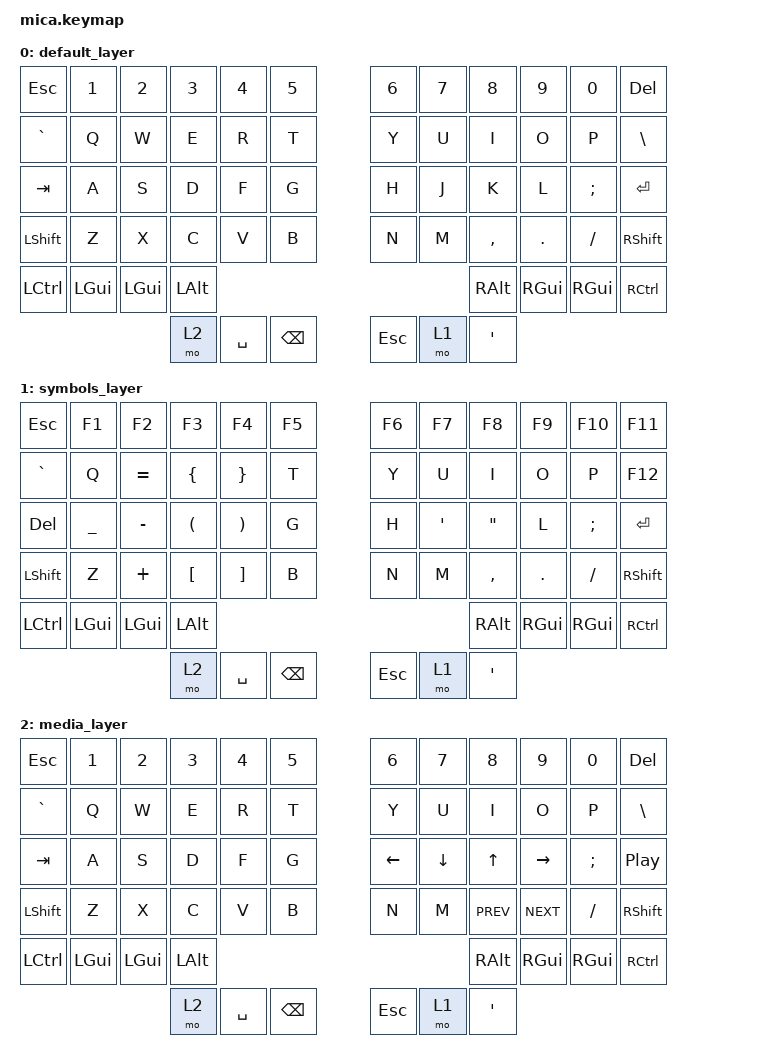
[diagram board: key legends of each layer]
#include <behaviors.dtsi>
#include <dt-bindings/zmk/keys.h>
#include <dt-bindings/zmk/bt.h>

/ {
        keymap {
                compatible = "zmk,keymap";

                default_layer {
                        bindings = <
   &kp ESC    &kp N1    &kp N2    &kp N3     &kp N4     &kp N5               &kp N6     &kp N7   &kp N8     &kp N9     &kp N0    &kp DEL
   &kp GRAVE  &kp Q     &kp W     &kp E      &kp R      &kp T                &kp Y      &kp U    &kp I      &kp O      &kp P     &kp BSLH
   &kp TAB    &kp A     &kp S     &kp D      &kp F      &kp G                &kp H      &kp J    &kp K      &kp L      &kp SEMI  &kp RET
   &kp LSHFT  &kp Z     &kp X     &kp C      &kp V      &kp B                &kp N      &kp M    &kp COMMA  &kp DOT    &kp FSLH  &kp RSHFT
   &kp LCTRL  &kp LGUI  &kp LGUI  &kp LALT                                                       &kp RALT   &kp RGUI   &kp RGUI  &kp RCTRL
                                  &mo 2      &kp SPACE  &kp BSPC             &kp ESC    &mo 1    &kp SQT                                
                        >;                                                                                             
                };                                                                                                     
                symbols_layer {                                                                                        
                        bindings = <                                                                                   
   &kp ESC    &kp F1    &kp F2    &kp F3     &kp F4     &kp F5               &kp F6     &kp F7   &kp F8     &kp F9     &kp F10   &kp F11
   &kp GRAVE  &kp Q     &kp EQUAL &kp LBRC   &kp RBRC   &kp T                &kp Y      &kp U    &kp I      &kp O      &kp P     &kp F12
   &kp DEL    &kp UNDER &kp MINUS &kp LPAR   &kp RPAR   &kp G                &kp H      &kp SQT  &kp DQT    &kp L      &kp SEMI  &kp RET
   &kp LSHFT  &kp Z     &kp PLUS  &kp LBKT   &kp RBKT   &kp B                &kp N      &kp M    &kp COMMA  &kp DOT    &kp FSLH  &kp RSHFT
   &kp LCTRL  &kp LGUI  &kp LGUI  &kp LALT                                                       &kp RALT   &kp RGUI   &kp RGUI  &kp RCTRL
                                  &mo 2      &kp SPACE  &kp BSPC             &kp ESC    &mo 1    &kp SQT                                
                        >;                                                                                             
                };                                                                                                     
                media_layer {                                                                                          
                        bindings = <                                                                                   
   &kp ESC    &kp N1    &kp N2    &kp N3     &kp N4     &kp N5               &kp N6     &kp N7   &kp N8     &kp N9     &kp N0    &kp DEL
   &kp GRAVE  &kp Q     &kp W     &kp E      &kp R      &kp T                &kp Y      &kp U    &kp I      &kp O      &kp P     &kp BSLH
   &kp TAB    &kp A     &kp S     &kp D      &kp F      &kp G                &kp LEFT   &kp DOWN &kp UP     &kp RIGHT  &kp SEMI  &kp C_PP
   &kp LSHFT  &kp Z     &kp X     &kp C      &kp V      &kp B                &kp N      &kp M    &kp C_PREV &kp C_NEXT &kp FSLH  &kp RSHFT
   &kp LCTRL  &kp LGUI  &kp LGUI  &kp LALT                                                       &kp RALT   &kp RGUI   &kp RGUI  &kp RCTRL
                                  &mo 2      &kp SPACE  &kp BSPC             &kp ESC    &mo 1    &kp SQT                                
                        >;
                };
        };
};
